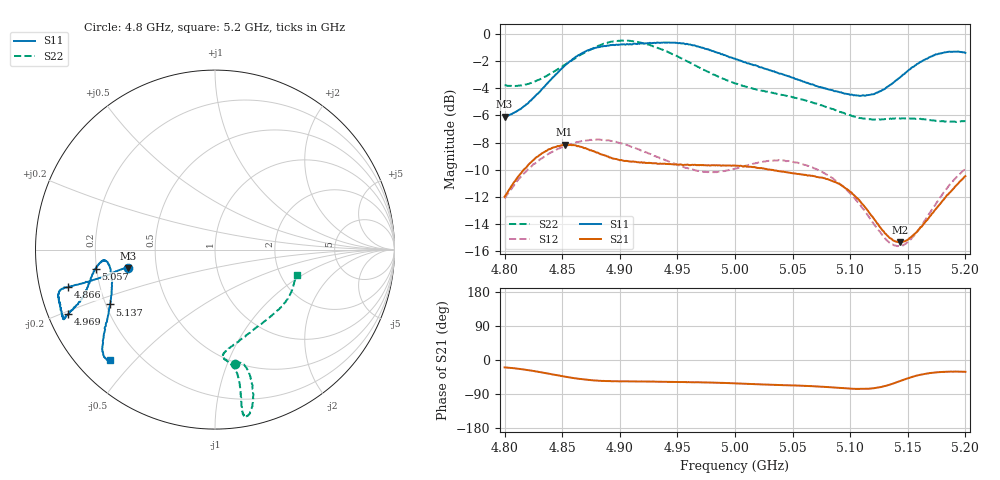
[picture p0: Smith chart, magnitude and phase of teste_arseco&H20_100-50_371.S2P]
! Network Analyzer HP8722D
! Hewlett-Packard
! Data name: Linha & Wilkinson
! Saver's name: Rodrigo Anjos
! Comments: Teste da utilização de aquisição
! continua pelo VNA HP8722D
! Time and date: 6/5/2025 15:39
!  Frequency  S11  S21  S12  S22
# HZ  S  MA R 50
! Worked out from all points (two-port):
!   401 points, 4.8 GHz to 5.2 GHz, reference 50 ohm
!   highest |S21| = -8.16 dB at 4.852 GHz (marker M1); lowest = -15.3 dB at 5.143 GHz (marker M2)
!   |S21| within 3 dB of the highest: 4.806 GHz to 5.093 GHz (286.4 MHz wide, 5.79 % of centre); 5.191949 GHz to end of sweep
!   lowest |S11| = -6.1 dB at 4.8 GHz (marker M3), VSWR 2.97, Z = 17 - j4.61 ohm
!   |S11| at or under -10 dB: nowhere
!   |S22| runs from -6.5 to -0.5 dB; largest |S21 - S12| = 0.62
!   S11 on the Smith chart (normalised r, x): 4.8 GHz: 0.34, -0.09; 4.866 GHz: 0.09, -0.12; 4.969 GHz: 0.06, -0.21; 5.057 GHz: 0.20, -0.08; 5.137 GHz: 0.22, -0.23; 5.2 GHz: 0.09, -0.43
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4.8e9  0.4963 -168.1  0.2519 -19.5  0.248 -140.8  0.6476 -80.3
4.825e9  0.581 -167.3  0.3432 -29.0  0.3318 -144.1  0.6648 -75.7
4.852e9  0.7628 -165.8  0.3909 -43.7  0.3867 -149.2  0.7682 -74.5
4.866e9  0.8441 -165.7  0.3843 -50.1  0.4026 -151.7  0.8378 -75.2
4.867e9  0.8474 -165.7  0.3839 -50.6  0.4032 -151.8  0.8423 -75.3
4.899e9  0.9125 -162.8  0.3443 -56.3  0.3979 -156.6  0.9434 -79.0
4.914e9  0.9194 -159.6  0.3385 -56.4  0.3794 -157.0  0.9376 -80.2
4.934e9  0.9272 -156.4  0.3328 -57.4  0.3513 -155.5  0.8838 -80.4
4.969e9  0.895 -156.2  0.3288 -58.8  0.3129 -147.3  0.7525 -79.6
5e9  0.8115 -158.9  0.3278 -61.7  0.3196 -137.1  0.6574 -81.2
5.035e9  0.7233 -165.0  0.3145 -65.7  0.3423 -134.2  0.6048 -85.6
5.057e9  0.6733 -170.9  0.3047 -67.8  0.3332 -135.8  0.5754 -84.7
5.067e9  0.6522 -173.0  0.3008 -68.9  0.3236 -136.6  0.5602 -82.6
5.084e9  0.6212 -174.5  0.2884 -72.3  0.296 -138.2  0.5301 -76.3
5.101e9  0.5982 -172.0  0.2614 -75.6  0.2562 -138.7  0.5004 -66.6
5.116e9  0.5955 -165.6  0.2216 -75.8  0.2132 -135.5  0.4855 -55.7
5.134e9  0.6455 -154.2  0.1779 -65.5  0.1708 -120.8  0.4874 -43.3
5.137e9  0.6596 -152.4  0.1742 -62.4  0.168 -116.9  0.4885 -41.4
5.143e9  0.6901 -149.2  0.1714 -55.8  0.1659 -109.0  0.4886 -38.0
5.155e9  0.7567 -144.0  0.1822 -43.6  0.18 -94.0  0.4883 -31.9
5.174e9  0.8403 -138.3  0.2261 -32.8  0.2354 -80.2  0.4789 -24.0
5.2e9  0.8514 -133.5  0.2999 -31.1  0.3186 -76.8  0.4775 -17.5
